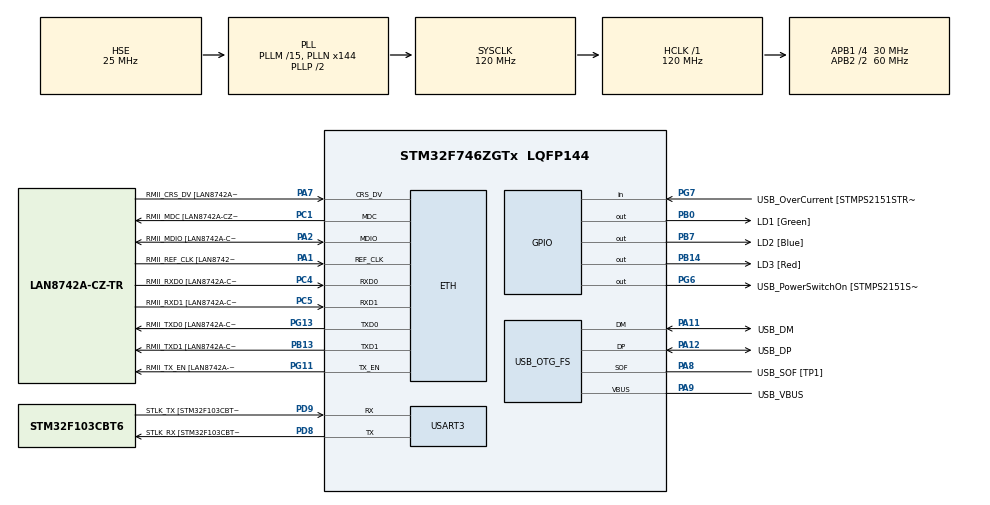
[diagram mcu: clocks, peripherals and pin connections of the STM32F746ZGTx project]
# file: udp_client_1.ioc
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CORTEX_M7.CPU_DCache=Enabled
CORTEX_M7.CPU_ICache=Enabled
CORTEX_M7.Enable-Cortex_Memory_Protection_Unit_Region0_Settings=MPU_REGION_ENABLE
CORTEX_M7.MPU_Control=__NULL
ETH.MediaInterface=HAL_ETH_RMII_MODE
LWIP.BSP.number=1
LWIP.GATEWAY_ADDRESS=192.168.137.001
LWIP.IP_ADDRESS=192.168.137.110
LWIP.LWIP_DHCP=0
LWIP.LWIP_SNTP=1
LWIP.MEM_SIZE=10*1024
LWIP.NETMASK_ADDRESS=255.255.255.000
LWIP.SNTP_COMP_ROUNDTRIP=1
LWIP.SNTP_UPDATE_DELAY=15000
LWIP.Version=v2.1.2_Cube
LWIP0.BSP.STBoard=false
LWIP0.BSP.api=BSP_COMPONENT_DRIVER
LWIP0.BSP.component=LAN8742
LWIP0.BSP.instance=LAN8742
LWIP0.BSP.name=Driver_PHY
LWIP0.BSP.semaphore=S_LAN8742
LWIP0.BSP.solution=LAN8742
Mcu.Family=STM32F7
Mcu.Name=STM32F746ZGTx
Mcu.Package=LQFP144
NVIC.PriorityGroup=NVIC_PRIORITYGROUP_4
NVIC.RTC_Alarm_IRQn=true\:0\:0\:false\:false\:true\:true\:true\:true
PA1.GPIO_Label=RMII_REF_CLK [LAN8742A-CZ-TR_REFCLK0]
PA1.Mode=RMII
PA1.Signal=ETH_REF_CLK
PA10.GPIO_Label=USB_ID
PA10.Signal=USB_OTG_FS_ID
PA11.GPIO_Label=USB_DM
PA11.Mode=Device_Only
PA11.Signal=USB_OTG_FS_DM
PA12.GPIO_Label=USB_DP
PA12.Mode=Device_Only
PA12.Signal=USB_OTG_FS_DP
PA13.GPIO_Label=TMS
PA13.Mode=Serial_Wire
PA13.Signal=SYS_JTMS-SWDIO
PA14.GPIO_Label=TCK
PA14.Mode=Serial_Wire
PA14.Signal=SYS_JTCK-SWCLK
PA2.GPIO_Label=RMII_MDIO [LAN8742A-CZ-TR_MDIO]
PA2.Mode=RMII
PA2.Signal=ETH_MDIO
PA7.GPIO_Label=RMII_CRS_DV [LAN8742A-CZ-TR_CRS_DV]
PA7.Mode=RMII
PA7.Signal=ETH_CRS_DV
PA8.GPIO_Label=USB_SOF [TP1]
PA8.Mode=Activate_SOF_FS
PA8.Signal=USB_OTG_FS_SOF
PA9.GPIO_Label=USB_VBUS
PA9.Mode=Activate_VBUS
PA9.Signal=USB_OTG_FS_VBUS
PB0.GPIO_Label=LD1 [Green]
PB0.PinState=GPIO_PIN_SET
PB0.Signal=GPIO_Output
PB13.GPIO_Label=RMII_TXD1 [LAN8742A-CZ-TR_TXD1]
PB13.Mode=RMII
PB13.Signal=ETH_TXD1
PB14.GPIO_Label=LD3 [Red]
PB14.PinState=GPIO_PIN_RESET
PB14.Signal=GPIO_Output
PB3.GPIO_Label=SW0
PB3.Signal=SYS_JTDO-SWO
PB7.GPIO_Label=LD2 [Blue]
PB7.Signal=GPIO_Output
PC1.GPIO_Label=RMII_MDC [LAN8742A-CZ-TR_MDC]
PC1.Mode=RMII
PC1.Signal=ETH_MDC
PC14/OSC32_IN.Signal=RCC_OSC32_IN
PC15/OSC32_OUT.Signal=RCC_OSC32_OUT
PC4.GPIO_Label=RMII_RXD0 [LAN8742A-CZ-TR_RXD0]
PC4.Mode=RMII
PC4.Signal=ETH_RXD0
PC5.GPIO_Label=RMII_RXD1 [LAN8742A-CZ-TR_RXD1]
PC5.Mode=RMII
PC5.Signal=ETH_RXD1
PD8.GPIO_Label=STLK_RX [STM32F103CBT6_PA3]
PD8.GPIO_PuPd=GPIO_PULLUP
PD8.Mode=Asynchronous
PD8.Signal=USART3_TX
PD9.GPIO_Label=STLK_TX [STM32F103CBT6_PA2]
PD9.GPIO_PuPd=GPIO_PULLUP
PD9.Mode=Asynchronous
PD9.Signal=USART3_RX
PG11.GPIO_Label=RMII_TX_EN [LAN8742A-CZ-TR_TXEN]
PG11.Mode=RMII
PG11.Signal=ETH_TX_EN
PG13.GPIO_Label=RMII_TXD0 [LAN8742A-CZ-TR_TXD0]
PG13.Mode=RMII
PG13.Signal=ETH_TXD0
PG6.GPIO_Label=USB_PowerSwitchOn [STMPS2151STR_EN]
PG6.Signal=GPIO_Output
PG7.GPIO_Label=USB_OverCurrent [STMPS2151STR_FAULT]
PG7.Signal=GPIO_Input
PH0/OSC_IN.GPIO_Label=MCO [STM32F103CBT6_PA8]
PH0/OSC_IN.Mode=HSE-External-Oscillator
PH0/OSC_IN.Signal=RCC_OSC_IN
PH1/OSC_OUT.Mode=HSE-External-Oscillator
PH1/OSC_OUT.Signal=RCC_OSC_OUT
ProjectManager.HeapSize=0x200
ProjectManager.StackSize=0x400
ProjectManager.TargetToolchain=STM32CubeIDE
RCC.48MHZClocksFreq_Value=24000000
RCC.AHBFreq_Value=120000000
RCC.APB1CLKDivider=RCC_HCLK_DIV4
RCC.APB1Freq_Value=30000000
RCC.APB1TimFreq_Value=60000000
RCC.APB2CLKDivider=RCC_HCLK_DIV2
RCC.APB2Freq_Value=60000000
RCC.APB2TimFreq_Value=120000000
RCC.CortexFreq_Value=120000000
RCC.DATA_CACHE_ENABLE=1
RCC.HCLKFreq_Value=120000000
RCC.HSE_VALUE=25000000
RCC.HSI_VALUE=16000000
RCC.INSTRUCTION_CACHE_ENABLE=1
RCC.LSE_VALUE=32768
RCC.PLLM=15
RCC.PLLMUL=RCC_PLL_MUL9
RCC.PLLN=144
RCC.PLLQ=5
RCC.PREFETCH_ENABLE=1
RCC.PRESCALERUSB=RCC_USBCLKSOURCE_PLL_DIV1_5
RCC.RCC_RTC_Clock_Source_FROM_HSE=RCC_RTCCLKSOURCE_HSE_DIV25
RCC.RTCClockSelection=RCC_RTCCLKSOURCE_HSE_DIV25
RCC.SYSCLKFreq_VALUE=120000000
RCC.SYSCLKSource=RCC_SYSCLKSOURCE_PLLCLK
RCC.SYSCLKSourceVirtual=RCC_SYSCLKSOURCE_PLLCLK
RCC.USBFreq_Value=48000000
RCC.VCOOutputFreq_Value=240000000
RTC.Alarm-Alarm\ A=RTC_ALARM_A
RTC.AlarmSubSecondMask-Alarm\ A=RTC_ALARMSUBSECONDMASK_NONE
RTC.Date=7
RTC.Hours=18
RTC.Minutes=1
RTC.Month=RTC_MONTH_JUNE
RTC.Seconds=50
RTC.Seconds_A-Alarm\ A=2
RTC.SynchPrediv=7813
RTC.WeekDay=RTC_WEEKDAY_FRIDAY
RTC.Year=24
USART3.VirtualMode-Asynchronous=VM_ASYNC
USB_OTG_FS.VirtualMode=Device_Only
VP_LWIP_VS_Enabled.Mode=Enabled
VP_RTC_VS_RTC_Activate.Mode=RTC_Enabled
VP_RTC_VS_RTC_Alarm_A_Intern.Mode=Alarm A
VP_RTC_VS_RTC_Calendar.Mode=RTC_Calendar
board=NUCLEO-F746ZG

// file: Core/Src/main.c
/* USER CODE BEGIN Header */
/**
  ******************************************************************************
  * @file           : main.c
  * @brief          : Main program body
  ******************************************************************************
  * @attention
  *
  * Copyright (c) 2024 STMicroelectronics.
  * All rights reserved.
  *
  * This software is licensed under terms that can be found in the LICENSE file
  * in the root directory of this software component.
  * If no LICENSE file comes with this software, it is provided AS-IS.
  *
  ******************************************************************************
  */
/* USER CODE END Header */
#include "main.h"
#include "lwip.h"

/* USER CODE BEGIN Includes */
#include "sntp.h"
#include "stm32f7xx_hal_rtc.h"
#include "time.h"
#include "functii.h"
/* USER CODE END Includes */

RTC_HandleTypeDef hrtc;

UART_HandleTypeDef huart3;

PCD_HandleTypeDef hpcd_USB_OTG_FS;

void SystemClock_Config(void);
static void MX_GPIO_Init(void);
static void MX_USART3_UART_Init(void);
static void MX_USB_OTG_FS_PCD_Init(void);
static void MX_RTC_Init(void);

/* USER CODE BEGIN 0 */
extern struct netif gnetif;
/* USER CODE END 0 */

int main(void)
{
/* Enable the CPU Cache */

  /* Enable I-Cache---------------------------------------------------------*/
  SCB_EnableICache();

  /* Enable D-Cache---------------------------------------------------------*/
  SCB_EnableDCache();

  /* MCU Configuration--------------------------------------------------------*/

  /* Reset of all peripherals, Initializes the Flash interface and the Systick. */
  HAL_Init();

  /* USER CODE BEGIN Init */
  HAL_RCC_DeInit();
  /* USER CODE END Init */

  /* Configure the system clock */
  SystemClock_Config();

  /* Initialize all configured peripherals */
  MX_GPIO_Init();
  MX_USART3_UART_Init();
  MX_USB_OTG_FS_PCD_Init();
  MX_LWIP_Init();
  MX_RTC_Init();
  /* USER CODE BEGIN 2 */
  sntp_setoperatingmode(SNTP_OPMODE_POLL); //setare in polling mode pentru sntp
  HAL_RTC_RegisterCallback(&hrtc, HAL_RTC_ALARM_A_EVENT_CB_ID, HAL_RTC_AlarmAEventCallback); //setare noua rutina pentru intrerupere

  ip_addr_t server_ntp;
  server_ntp.addr = 0x0189A8C0; //serverul NTP: 192.168.1.1
  sntp_setserver(0, &server_ntp);

  sntp_init();
  sntp_enabled();
  RTC_TimeTypeDef time_rtc = {0};
  RTC_DateTypeDef date_rtc = {0};
  RTC_AlarmTypeDef sAlarm = {0};

  udp_client_connect();

  /* USER CODE END 2 */

  /* Infinite loop */
  while (1)
  {

    /* USER CODE BEGIN 3 */
	  ethernetif_input(&gnetif);

	  HAL_RTC_GetTime(&hrtc, &time_rtc, RTC_FORMAT_BIN);
	  HAL_RTC_GetDate(&hrtc, &date_rtc, RTC_FORMAT_BIN);
	  HAL_RTC_GetAlarm(&hrtc,&sAlarm,RTC_ALARM_A,FORMAT_BIN);

	  if(isRequested == false && isUpdated == true)
	  {
		  isRequested = true;
//		  isUpdated = false;
		  udp_client_send("request interval");
	  }
	  sys_check_timeouts();
  }
  /* USER CODE END 3 */
}

void SystemClock_Config(void)
{
  RCC_OscInitTypeDef RCC_OscInitStruct = {0};
  RCC_ClkInitTypeDef RCC_ClkInitStruct = {0};

  /** Configure the main internal regulator output voltage
  */
  __HAL_RCC_PWR_CLK_ENABLE();
  __HAL_PWR_VOLTAGESCALING_CONFIG(PWR_REGULATOR_VOLTAGE_SCALE3);

  /** Initializes the RCC Oscillators according to the specified parameters
  * in the RCC_OscInitTypeDef structure.
  */
  RCC_OscInitStruct.OscillatorType = RCC_OSCILLATORTYPE_HSE;
  RCC_OscInitStruct.HSEState = RCC_HSE_ON;
  RCC_OscInitStruct.PLL.PLLState = RCC_PLL_ON;
  RCC_OscInitStruct.PLL.PLLSource = RCC_PLLSOURCE_HSE;
  RCC_OscInitStruct.PLL.PLLM = 15;
  RCC_OscInitStruct.PLL.PLLN = 144;
  RCC_OscInitStruct.PLL.PLLP = RCC_PLLP_DIV2;
  RCC_OscInitStruct.PLL.PLLQ = 5;
  if (HAL_RCC_OscConfig(&RCC_OscInitStruct) != HAL_OK)
  {
    Error_Handler();
  }

  /** Initializes the CPU, AHB and APB buses clocks
  */
  RCC_ClkInitStruct.ClockType = RCC_CLOCKTYPE_HCLK|RCC_CLOCKTYPE_SYSCLK
                              |RCC_CLOCKTYPE_PCLK1|RCC_CLOCKTYPE_PCLK2;
  RCC_ClkInitStruct.SYSCLKSource = RCC_SYSCLKSOURCE_PLLCLK;
  RCC_ClkInitStruct.AHBCLKDivider = RCC_SYSCLK_DIV1;
  RCC_ClkInitStruct.APB1CLKDivider = RCC_HCLK_DIV4;
  RCC_ClkInitStruct.APB2CLKDivider = RCC_HCLK_DIV2;

  if (HAL_RCC_ClockConfig(&RCC_ClkInitStruct, FLASH_LATENCY_3) != HAL_OK)
  {
    Error_Handler();
  }
}

static void MX_RTC_Init(void)
{

  RTC_TimeTypeDef sTime = {0};
  RTC_DateTypeDef sDate = {0};
  RTC_AlarmTypeDef sAlarm = {0};

  /** Initialize RTC Only
  */
  hrtc.Instance = RTC;
  hrtc.Init.HourFormat = RTC_HOURFORMAT_24;
  hrtc.Init.AsynchPrediv = 127;
  hrtc.Init.SynchPrediv = 2480;
  hrtc.Init.OutPut = RTC_OUTPUT_DISABLE;
  hrtc.Init.OutPutPolarity = RTC_OUTPUT_POLARITY_HIGH;
  hrtc.Init.OutPutType = RTC_OUTPUT_TYPE_OPENDRAIN;
  if (HAL_RTC_Init(&hrtc) != HAL_OK)
  {
    Error_Handler();
  }

  /* USER CODE BEGIN Check_RTC_BKUP */
  HAL_RTC_GetTime(&hrtc, &sTime, RTC_FORMAT_BIN);
  HAL_RTC_GetDate(&hrtc, &sDate, RTC_FORMAT_BIN);
  /* USER CODE END Check_RTC_BKUP */

  /** Initialize RTC and set the Time and Date
  */
  sTime.Hours = 0x18;
  sTime.Minutes = 0x1;
  sTime.Seconds = 0x50;
  sTime.DayLightSaving = RTC_DAYLIGHTSAVING_NONE;
  sTime.StoreOperation = RTC_STOREOPERATION_RESET;
  if (HAL_RTC_SetTime(&hrtc, &sTime, RTC_FORMAT_BCD) != HAL_OK)
  {
    Error_Handler();
  }
  sDate.WeekDay = RTC_WEEKDAY_FRIDAY;
  sDate.Month = RTC_MONTH_JUNE;
  sDate.Date = 0x7;
  sDate.Year = 0x24;
  if (HAL_RTC_SetDate(&hrtc, &sDate, RTC_FORMAT_BCD) != HAL_OK)
  {
    Error_Handler();
  }

  /** Enable the Alarm A
  */
  sAlarm.AlarmTime.Hours = 0x0;
  sAlarm.AlarmTime.Minutes = 0x0;
  sAlarm.AlarmTime.Seconds = 0x2;
  sAlarm.AlarmTime.SubSeconds = 0x0;
  sAlarm.AlarmTime.DayLightSaving = RTC_DAYLIGHTSAVING_NONE;
  sAlarm.AlarmTime.StoreOperation = RTC_STOREOPERATION_RESET;
  sAlarm.AlarmMask = RTC_ALARMMASK_NONE;
  sAlarm.AlarmSubSecondMask = RTC_ALARMSUBSECONDMASK_NONE;
  sAlarm.AlarmDateWeekDaySel = RTC_ALARMDATEWEEKDAYSEL_DATE;
  sAlarm.AlarmDateWeekDay = 0x1;
  sAlarm.Alarm = RTC_ALARM_A;
  if (HAL_RTC_SetAlarm_IT(&hrtc, &sAlarm, RTC_FORMAT_BCD) != HAL_OK)
  {
    Error_Handler();
  }

}

static void MX_USART3_UART_Init(void)
{

  huart3.Instance = USART3;
  huart3.Init.BaudRate = 115200;
  huart3.Init.WordLength = UART_WORDLENGTH_8B;
  huart3.Init.StopBits = UART_STOPBITS_1;
  huart3.Init.Parity = UART_PARITY_NONE;
  huart3.Init.Mode = UART_MODE_TX_RX;
  huart3.Init.HwFlowCtl = UART_HWCONTROL_NONE;
  huart3.Init.OverSampling = UART_OVERSAMPLING_16;
  huart3.Init.OneBitSampling = UART_ONE_BIT_SAMPLE_DISABLE;
  huart3.AdvancedInit.AdvFeatureInit = UART_ADVFEATURE_NO_INIT;
  if (HAL_UART_Init(&huart3) != HAL_OK)
  {
    Error_Handler();
  }

}

static void MX_USB_OTG_FS_PCD_Init(void)
{

  hpcd_USB_OTG_FS.Instance = USB_OTG_FS;
  hpcd_USB_OTG_FS.Init.dev_endpoints = 6;
  hpcd_USB_OTG_FS.Init.speed = PCD_SPEED_FULL;
  hpcd_USB_OTG_FS.Init.dma_enable = DISABLE;
  hpcd_USB_OTG_FS.Init.phy_itface = PCD_PHY_EMBEDDED;
  hpcd_USB_OTG_FS.Init.Sof_enable = ENABLE;
  hpcd_USB_OTG_FS.Init.low_power_enable = DISABLE;
  hpcd_USB_OTG_FS.Init.lpm_enable = DISABLE;
  hpcd_USB_OTG_FS.Init.vbus_sensing_enable = ENABLE;
  hpcd_USB_OTG_FS.Init.use_dedicated_ep1 = DISABLE;
  if (HAL_PCD_Init(&hpcd_USB_OTG_FS) != HAL_OK)
  {
    Error_Handler();
  }

}

static void MX_GPIO_Init(void)
{
  GPIO_InitTypeDef GPIO_InitStruct = {0};

  /* GPIO Ports Clock Enable */
  __HAL_RCC_GPIOC_CLK_ENABLE();
  __HAL_RCC_GPIOH_CLK_ENABLE();
  __HAL_RCC_GPIOA_CLK_ENABLE();
  __HAL_RCC_GPIOB_CLK_ENABLE();
  __HAL_RCC_GPIOD_CLK_ENABLE();
  __HAL_RCC_GPIOG_CLK_ENABLE();

  /*Configure GPIO pin Output Level */
  HAL_GPIO_WritePin(LD1_GPIO_Port, LD1_Pin, GPIO_PIN_SET);

  /*Configure GPIO pin Output Level */
  HAL_GPIO_WritePin(GPIOB, LD3_Pin|LD2_Pin, GPIO_PIN_RESET);

  /*Configure GPIO pin Output Level */
  HAL_GPIO_WritePin(USB_PowerSwitchOn_GPIO_Port, USB_PowerSwitchOn_Pin, GPIO_PIN_RESET);

  /*Configure GPIO pins : LD1_Pin LD3_Pin LD2_Pin */
  GPIO_InitStruct.Pin = LD1_Pin|LD3_Pin|LD2_Pin;
  GPIO_InitStruct.Mode = GPIO_MODE_OUTPUT_PP;
  GPIO_InitStruct.Pull = GPIO_NOPULL;
  GPIO_InitStruct.Speed = GPIO_SPEED_FREQ_LOW;
  HAL_GPIO_Init(GPIOB, &GPIO_InitStruct);

  /*Configure GPIO pin : USB_PowerSwitchOn_Pin */
  GPIO_InitStruct.Pin = USB_PowerSwitchOn_Pin;
  GPIO_InitStruct.Mode = GPIO_MODE_OUTPUT_PP;
  GPIO_InitStruct.Pull = GPIO_NOPULL;
  GPIO_InitStruct.Speed = GPIO_SPEED_FREQ_LOW;
  HAL_GPIO_Init(USB_PowerSwitchOn_GPIO_Port, &GPIO_InitStruct);

  /*Configure GPIO pin : USB_OverCurrent_Pin */
  GPIO_InitStruct.Pin = USB_OverCurrent_Pin;
  GPIO_InitStruct.Mode = GPIO_MODE_INPUT;
  GPIO_InitStruct.Pull = GPIO_NOPULL;
  HAL_GPIO_Init(USB_OverCurrent_GPIO_Port, &GPIO_InitStruct);

}

void Error_Handler(void)
{
  __disable_irq();
  while (1)
  {
  }
}
